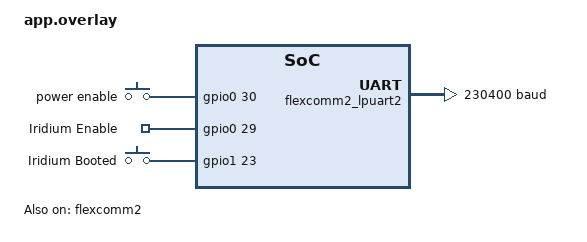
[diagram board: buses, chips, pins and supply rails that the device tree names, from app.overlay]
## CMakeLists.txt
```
cmake_minimum_required(VERSION 3.20.0)
find_package(Zephyr REQUIRED HINTS $ENV{ZEPHYR_BASE})
project(uart)

# Must be before add_subdirectory so the library picks it up
add_definitions(-DIMT_PAYLOAD_SIZE=500U)
add_definitions(-DIMT_QUEUE_SIZE=1U)
add_definitions(-DZEPHYR=1)

set(BUILD_EXAMPLES OFF CACHE BOOL "" FORCE)
set(BUILD_PYTHON_SHARED_LIBRARY OFF CACHE BOOL "" FORCE)
set(FW_UPDATE OFF CACHE BOOL "" FORCE)

add_subdirectory(${CMAKE_CURRENT_SOURCE_DIR}/RockBLOCK-9704 ${CMAKE_CURRENT_SOURCE_DIR}/rockblock_build)

target_link_libraries(iridiumImt PRIVATE zephyr_interface)

target_sources(app PRIVATE src/main.c)
target_include_directories(app PUBLIC ${RB9704_INCLUDES})
target_link_libraries(app PRIVATE ${RB9704_LIB})
```

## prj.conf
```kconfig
CONFIG_SERIAL=y
CONFIG_UART_INTERRUPT_DRIVEN=y
CONFIG_MAIN_STACK_SIZE=65536
CONFIG_COMMON_LIBC_MALLOC_ARENA_SIZE=32768
CONFIG_DEBUG_OPTIMIZATIONS=y
CONFIG_DEBUG=y
CONFIG_NO_OPTIMIZATIONS=y
```

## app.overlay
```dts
&flexcomm2 {
	status = "okay";
};

&flexcomm2_lpuart2 {
    current-speed = <230400>;
};

/ {
	rockblock_pins {
		compatible = "gpio-keys";
		power_enable: power_enable {
			gpios = <&gpio0 30 GPIO_ACTIVE_HIGH>;
			label = "power enable";
		};
		iridium_enable: iridium_enable {
			gpios = <&gpio0 29 GPIO_ACTIVE_HIGH>;
			label = "Iridium Enable";
		};
		iridium_booted: iridium_booted {
			gpios = <&gpio1 23 GPIO_ACTIVE_HIGH>;
			label = "Iridium Booted";
		};
	};
};
```

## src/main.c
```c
#include <zephyr/kernel.h>
#include <zephyr/device.h>
#include <zephyr/drivers/uart.h>
#include <zephyr/drivers/gpio.h>
#include <zephyr/sys/sys_heap.h>
#include <stdbool.h>
#include "rockblock_9704.h"
#define ZEPHYR

const struct gpio_dt_spec p_en = GPIO_DT_SPEC_GET(DT_NODELABEL(power_enable), gpios);
const struct gpio_dt_spec i_en = GPIO_DT_SPEC_GET(DT_NODELABEL(iridium_enable), gpios);
const struct gpio_dt_spec i_btd = GPIO_DT_SPEC_GET(DT_NODELABEL(iridium_booted), gpios);


int main(void) {
	printk("IMT_PAYLOAD_SIZE = %d\n", IMT_PAYLOAD_SIZE);
	printk("Main stack size = %d\n", CONFIG_MAIN_STACK_SIZE);
	if (!gpio_is_ready_dt(&p_en) || !gpio_is_ready_dt(&i_en) || !gpio_is_ready_dt(&i_btd)) {
		printk("failed to init one or more gpios\n");
		return 0;
	}
	gpio_pin_configure_dt(&p_en, GPIO_OUTPUT | GPIO_PULL_DOWN);
	gpio_pin_configure_dt(&i_en, GPIO_OUTPUT | GPIO_PULL_DOWN);
	gpio_pin_configure_dt(&i_btd, GPIO_INPUT);
	rbBeginZephyrGpio(&p_en, &i_en, &i_btd);
	if (!rbBegin(".")) {
		printk("failed to begin");
	}
	printk("finished setup\n");
	//k_msleep(500);
	char* serial = rbGetSerialNumber();
	printk("iridium serial: %s", serial);
	uint8_t signal = rbGetSignal();
	printk("signal strength: %u", signal);
	return 0;
}
```
